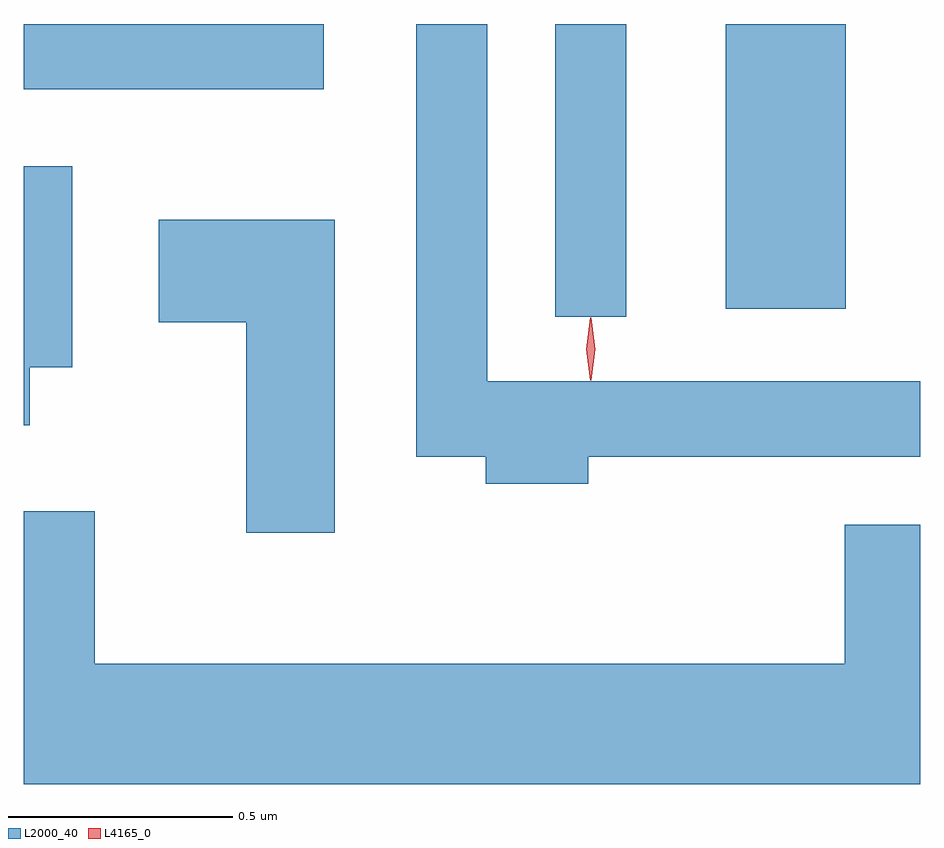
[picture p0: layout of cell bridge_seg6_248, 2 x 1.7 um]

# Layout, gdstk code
import gdstk
lib = gdstk.Library(unit=1e-6, precision=1e-09)
def R(c, l, rs):  # rectangles x0, y0, x1, y1
    for r in rs: c.add(gdstk.rectangle(r[:2], r[2:], *l))
def P(c, l, *ps):  # polygons
    for p in ps: c.add(gdstk.Polygon(p, *l))
L2000_40 = (2000, 40)
L4165_0 = (4165, 0)

bridge_seg6_248 = lib.new_cell('bridge_seg6_248')
R(bridge_seg6_248, L2000_40, [(1136.546,1553.298,1136.704,1553.951), (1136.926,1553.316,1137.194,1553.951), (1135.36,1553.806,1136.029,1553.951)])
P(bridge_seg6_248, L2000_40, [(1136.619,1552.986),(1137.36,1552.986),(1137.36,1553.154),(1136.394,1553.154),(1136.394,1553.951),(1136.236,1553.951),(1136.236,1552.986),(1136.391,1552.986),(1136.391,1552.926),(1136.619,1552.926)],
  [(1135.374,1553.186),(1135.469,1553.186),(1135.469,1553.634),(1135.36,1553.634),(1135.36,1553.056),(1135.374,1553.056)],
  [(1136.054,1553.514),(1135.661,1553.514),(1135.661,1553.286),(1135.856,1553.286),(1135.856,1552.816),(1136.054,1552.816)],
  [(1137.36,1552.834),(1137.191,1552.834),(1137.191,1552.524),(1135.519,1552.524),(1135.519,1552.864),(1135.36,1552.864),(1135.36,1552.256),(1137.36,1552.256)])
P(bridge_seg6_248, L4165_0, [(1136.624,1553.157),(1136.615,1553.226),(1136.624,1553.296),(1136.625,1553.296),(1136.626,1553.296),(1136.635,1553.226),(1136.626,1553.157),(1136.625,1553.157)])

lib.write_gds('bridge_seg6_248.gds')
